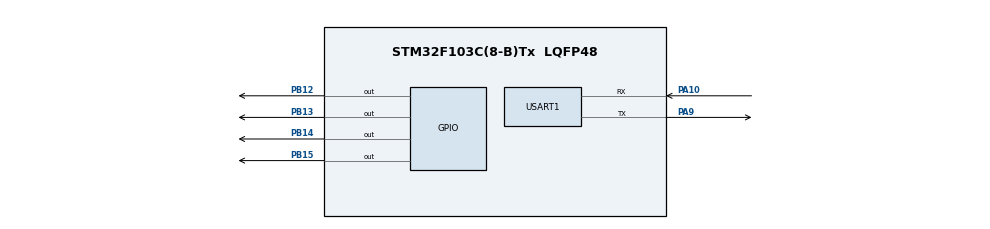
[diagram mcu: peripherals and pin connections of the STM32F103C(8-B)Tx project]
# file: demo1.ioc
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Mcu.Family=STM32F1
Mcu.Name=STM32F103C(8-B)Tx
Mcu.Package=LQFP48
NVIC.PriorityGroup=NVIC_PRIORITYGROUP_4
NVIC.USART1_IRQn=true\:0\:0\:false\:false\:true\:true\:true
PA10.Mode=Asynchronous
PA10.Signal=USART1_RX
PA13.Mode=Serial_Wire
PA13.Signal=SYS_JTMS-SWDIO
PA14.Mode=Serial_Wire
PA14.Signal=SYS_JTCK-SWCLK
PA9.Mode=Asynchronous
PA9.Signal=USART1_TX
PB12.Signal=GPIO_Output
PB13.Signal=GPIO_Output
PB14.Signal=GPIO_Output
PB15.Signal=GPIO_Output
ProjectManager.HeapSize=0x200
ProjectManager.StackSize=0x400
ProjectManager.TargetToolchain=MDK-ARM V5
RCC.APB1Freq_Value=8000000
RCC.APB2Freq_Value=8000000
USART1.VirtualMode=VM_ASYNC
board=custom

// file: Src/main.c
/* USER CODE BEGIN Header */
/**
  ******************************************************************************
  * @file           : main.c
  * @brief          : Main program body
  ******************************************************************************
  * @attention
  *
  * <h2><center>&copy; Copyright (c) 2020 STMicroelectronics.
  * All rights reserved.</center></h2>
  *
  * This software component is licensed by ST under BSD 3-Clause license,
  * the "License"; You may not use this file except in compliance with the
  * License. You may obtain a copy of the License at:
  *                        opensource.org/licenses/BSD-3-Clause
  *
  ******************************************************************************
  */
/* USER CODE END Header */

#include "main.h"
#include "usart.h"
#include "gpio.h"

/* USER CODE BEGIN Includes */
#include "oled.h"
/* USER CODE END Includes */

/* USER CODE BEGIN PD */
extern unsigned char BMP1[];
/* USER CODE END PD */

/* USER CODE BEGIN PM */
/****************加载图片****************/
void OLED_BMP()
{
	OLED_Clear(); 							//清除显示器
	OLED_DrawBMP(0,0,128,8,BMP1);	//x为0 y为0  横128个像素   竖 8 个像素            OLED12864
}
/****************加载字符****************/
void OLED_String()
{
	OLED_Clear();
	OLED_ShowString(10,0,(uint8_t *)"xiaotangstudio");
	OLED_ShowCHinese(27,3,0);
	HAL_Delay(500);
	OLED_ShowCHinese(42,3,1);
	HAL_Delay(500);
	OLED_ShowCHinese(57,3,2);
	HAL_Delay(500);
	OLED_ShowCHinese(72,3,3);
	HAL_Delay(500);
	OLED_ShowCHinese(87,3,4);
	OLED_ShowString(30,6,(uint8_t *)"2020-6-21");
}
/* USER CODE END PM */

void SystemClock_Config(void);

int main(void)
{

  /* MCU Configuration--------------------------------------------------------*/

  /* Reset of all peripherals, Initializes the Flash interface and the Systick. */
  HAL_Init();

  /* Configure the system clock */
  SystemClock_Config();

  /* Initialize all configured peripherals */
  MX_GPIO_Init();
  MX_USART1_UART_Init();
  /* USER CODE BEGIN 2 */
	OLED_Init();

	OLED_BMP();

	HAL_Delay(500);

	OLED_String();
  /* USER CODE END 2 */

  /* Infinite loop */
  while (1)
  {

  }
}

void SystemClock_Config(void)
{
  RCC_OscInitTypeDef RCC_OscInitStruct = {0};
  RCC_ClkInitTypeDef RCC_ClkInitStruct = {0};

  /** Initializes the CPU, AHB and APB busses clocks
  */
  RCC_OscInitStruct.OscillatorType = RCC_OSCILLATORTYPE_HSI;
  RCC_OscInitStruct.HSIState = RCC_HSI_ON;
  RCC_OscInitStruct.HSICalibrationValue = RCC_HSICALIBRATION_DEFAULT;
  RCC_OscInitStruct.PLL.PLLState = RCC_PLL_NONE;
  if (HAL_RCC_OscConfig(&RCC_OscInitStruct) != HAL_OK)
  {
    Error_Handler();
  }
  /** Initializes the CPU, AHB and APB busses clocks
  */
  RCC_ClkInitStruct.ClockType = RCC_CLOCKTYPE_HCLK|RCC_CLOCKTYPE_SYSCLK
                              |RCC_CLOCKTYPE_PCLK1|RCC_CLOCKTYPE_PCLK2;
  RCC_ClkInitStruct.SYSCLKSource = RCC_SYSCLKSOURCE_HSI;
  RCC_ClkInitStruct.AHBCLKDivider = RCC_SYSCLK_DIV1;
  RCC_ClkInitStruct.APB1CLKDivider = RCC_HCLK_DIV1;
  RCC_ClkInitStruct.APB2CLKDivider = RCC_HCLK_DIV1;

  if (HAL_RCC_ClockConfig(&RCC_ClkInitStruct, FLASH_LATENCY_0) != HAL_OK)
  {
    Error_Handler();
  }
}

void Error_Handler(void)
{
}

/************************ (C) COPYRIGHT STMicroelectronics *****END OF FILE****/
